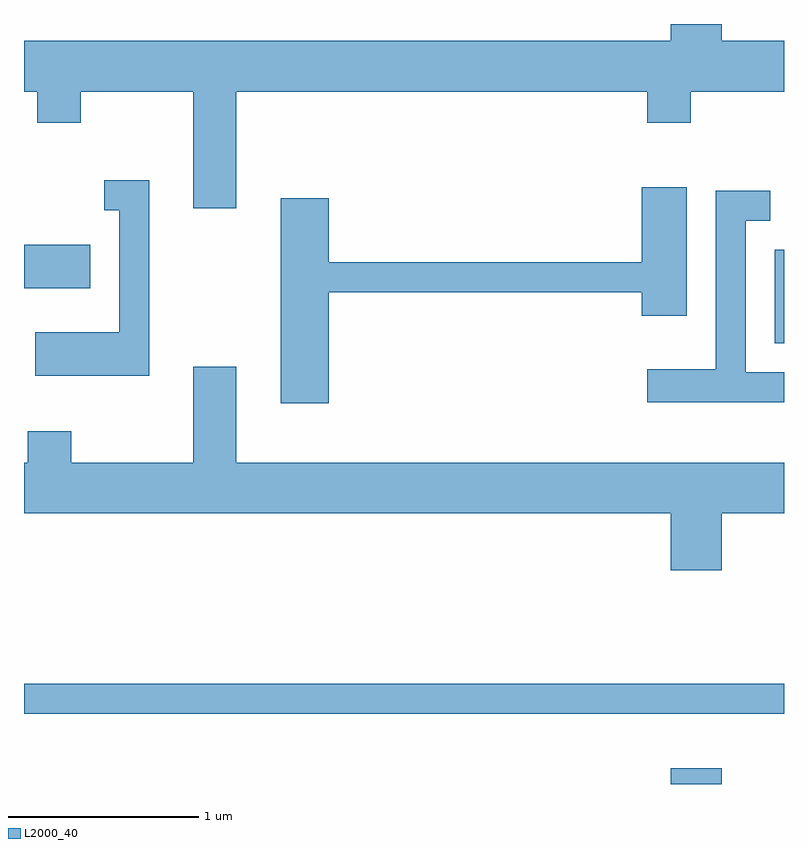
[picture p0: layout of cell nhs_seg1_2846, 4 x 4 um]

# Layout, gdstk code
import gdstk
lib = gdstk.Library(unit=1e-6, precision=1e-09)
def R(c, l, rs):  # rectangles x0, y0, x1, y1
    for r in rs: c.add(gdstk.rectangle(r[:2], r[2:], *l))
def P(c, l, *ps):  # polygons
    for p in ps: c.add(gdstk.Polygon(p, *l))
L2000_40 = (2000, 40)

nhs_seg1_2846 = lib.new_cell('nhs_seg1_2846')
R(nhs_seg1_2846, L2000_40, [(275.016,893.712,275.284,893.794), (271.611,894.081,275.611,894.239), (275.561,896.031,275.611,896.524), (271.611,896.321,271.959,896.549)])
P(nhs_seg1_2846, L2000_40, [(272.729,897.356),(274.891,897.356),(274.891,897.191),(275.119,897.191),(275.119,897.356),(275.611,897.356),(275.611,897.624),(275.284,897.624),(275.284,897.712),(275.016,897.712),(275.016,897.624),(271.611,897.624),(271.611,897.356),(271.681,897.356),(271.681,897.191),(271.909,897.191),(271.909,897.356),(272.501,897.356),(272.501,896.741),(272.729,896.741)],
  [(272.269,896.889),(272.033,896.889),(272.033,896.731),(272.111,896.731),(272.111,896.089),(271.671,896.089),(271.671,895.861),(272.269,895.861)],
  [(273.214,896.301),(274.861,896.301),(274.861,896.176),(275.099,896.176),(275.099,896.854),(274.861,896.854),(274.861,896.459),(273.214,896.459),(273.214,896.794),(272.961,896.794),(272.961,895.716),(273.214,895.716)],
  [(275.611,895.879),(275.409,895.879),(275.409,896.676),(275.538,896.676),(275.538,896.834),(275.251,896.834),(275.251,895.894),(274.891,895.894),(274.891,895.721),(275.611,895.721)],
  [(275.284,895.136),(275.611,895.136),(275.611,895.404),(272.729,895.404),(272.729,895.909),(272.501,895.909),(272.501,895.404),(271.859,895.404),(271.859,895.569),(271.631,895.569),(271.631,895.404),(271.611,895.404),(271.611,895.136),(275.016,895.136),(275.016,894.836),(275.284,894.836)])

lib.write_gds('nhs_seg1_2846.gds')
